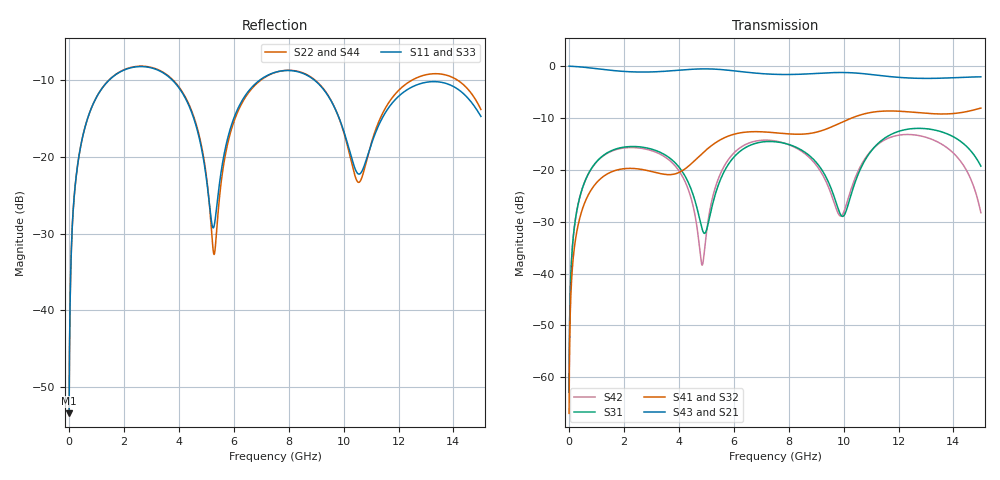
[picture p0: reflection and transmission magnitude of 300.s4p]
! Created with skrf 1.8.0 (http://scikit-rf.org).
# GHz S RI R 50.0
!freq ReS11 ImS11 ReS12 ImS12 ReS13 ImS13
! ReS14 ImS14
! ReS21 ImS21 ReS22 ImS22 ReS23 ImS23
! ReS24 ImS24
! ReS31 ImS31 ReS32 ImS32 ReS33 ImS33
! ReS34 ImS34
! ReS41 ImS41 ReS42 ImS42 ReS43 ImS43
! ReS44 ImS44
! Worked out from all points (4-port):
!   2499 points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, 5 MHz to 15 GHz, reference 50 ohm
!   strongest paths, dB at 5 MHz, 3.476 GHz, 7.19 GHz, 11.1 GHz, 15 GHz:
!     S43: 0.0, -1.0, -1.5, -1.7, -2.1
!     S21: 0.0, -1.0, -1.5, -1.7, -2.1
!     S41: -67.0, -20.9, -12.7, -8.9, -8.1
!     S32: -67.0, -20.9, -12.8, -8.9, -8.1
!     S31: -62.9, -17.1, -14.6, -15.8, -19.3
!     S42: -62.9, -17.5, -14.3, -15.8, -28.3
!   lowest |S11| = -53.4 dB at 5 MHz (marker M1), VSWR 1.00, Z = 50.2 + j0.129 ohm
!   |S11| at or under -10 dB: start of sweep to 1.458 GHz; 3.768 GHz to 6.944 GHz (3.176 GHz wide, 59.3 % of centre); 8.941 GHz to end of sweep
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0.005  0.0017 0.00129  0.9983 -0.00331  8.7e-05 0.000713  -8.42e-05 -0.000441
       0.9983 -0.00331  0.0017 0.00129  -8.42e-05 -0.000441  8.68e-05 0.000713
       8.7e-05 0.000713  -8.42e-05 -0.000441  0.0017 0.00129  0.9983 -0.00331
       -8.42e-05 -0.000441  8.68e-05 0.000713  0.9983 -0.00331  0.0017 0.00129
0.3626511  0.0321 0.096  0.9556 -0.2363  0.0164 0.0478  -0.0133 -0.0289
           0.9556 -0.2363  0.0322 0.0959  -0.0133 -0.0289  0.0158 0.048
           0.0164 0.0478  -0.0133 -0.0289  0.0321 0.096  0.9556 -0.2362
           -0.0133 -0.0289  0.0158 0.048  0.9556 -0.2362  0.0322 0.096
1.619545  0.2913 0.1659  0.4951 -0.7582  0.1465 0.0529  -0.0971 0.00361
          0.4951 -0.7582  0.2936 0.1642  -0.097 0.00343  0.1405 0.0622
          0.1465 0.0529  -0.097 0.00343  0.2914 0.1659  0.4951 -0.7582
          -0.0971 0.00361  0.1405 0.0622  0.4951 -0.7582  0.2935 0.1643
5.145894  0.0354 -0.0259  -0.9277 -0.1431  -0.02 0.0316  -0.0208 0.1663
          -0.9277 -0.1431  0.0243 -0.0343  -0.0232 0.166  0.0155 0.0401
          -0.02 0.0316  -0.0232 0.166  0.0352 -0.0271  -0.9275 -0.1436
          -0.0208 0.1663  0.0155 0.0401  -0.9275 -0.1436  0.0248 -0.0355
8.18466  0.3618 -0.0357  -0.00442 0.8297  0.1432 -0.0892  0.2103 -0.0667
         -0.00442 0.8297  0.3635 -0.0358  0.2104 -0.0615  0.1443 -0.0833
         0.1432 -0.0892  0.2104 -0.0615  0.3596 -0.0362  -0.0041 0.831
         0.2103 -0.0667  0.1443 -0.0833  -0.0041 0.831  0.3594 -0.0354
10.9108  0.095 0.0488  0.8341 -0.0368  0.0566 0.1284  -0.0418 -0.3513
         0.8341 -0.0368  0.0892 0.0578  -0.033 -0.3513  0.0387 0.1377
         0.0566 0.1284  -0.033 -0.3513  0.0994 0.0528  0.8339 -0.0384
         -0.0418 -0.3513  0.0387 0.1377  0.8339 -0.0384  0.085 0.0599
15  0.1637 -0.0833  -0.5398 -0.5708  -0.0308 -0.1039  -0.265 0.2913
    -0.5398 -0.5708  0.1391 -0.1489  -0.2793 0.276  -0.0107 -0.0371
    -0.0308 -0.1039  -0.2793 0.276  0.1464 -0.0903  -0.5442 -0.5694
    -0.265 0.2913  -0.0107 -0.0371  -0.5442 -0.5694  0.1422 -0.1319
